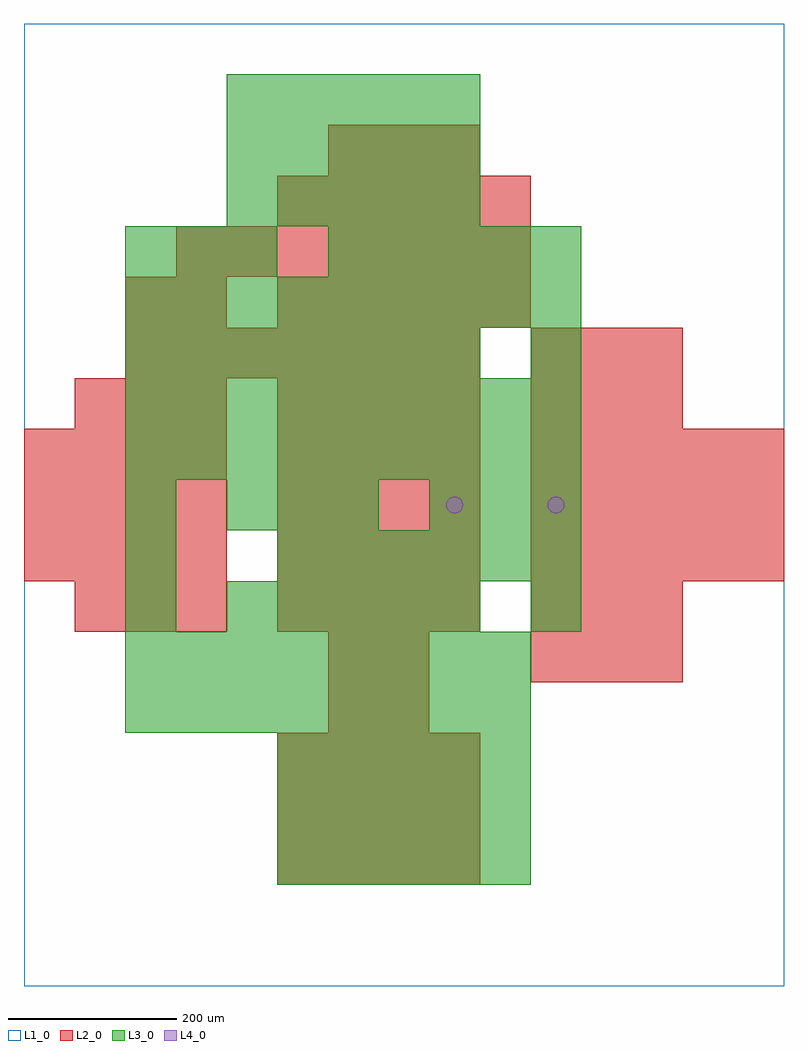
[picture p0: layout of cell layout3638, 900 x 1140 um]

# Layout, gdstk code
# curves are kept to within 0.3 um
import gdstk
lib = gdstk.Library(unit=1e-6, precision=1e-09)
def R(c, l, rs):  # rectangles x0, y0, x1, y1
    for r in rs: c.add(gdstk.rectangle(r[:2], r[2:], *l))
def A(c, l, x, y, w, h, nx, ny, dx, dy):  # array of equal rectangles
    R(c, l, [(x+i*dx, y+j*dy, x+i*dx+w, y+j*dy+h) for i in range(nx) for j in range(ny)])
def P(c, l, *ps):  # polygons
    for p in ps: c.add(gdstk.Polygon(p, *l))
L1_0 = (1, 0)
L2_0 = (2, 0)
L3_0 = (3, 0)
L4_0 = (4, 0)

layout3638 = lib.new_cell('layout3638')
R(layout3638, L1_0, [(0,0,900,1140)])
A(layout3638, L2_0, 300, 120, 60, 60, 4, 3, 60, 60)
A(layout3638, L2_0, 600, 360, 60, 60, 3, 2, 60, 60)
A(layout3638, L2_0, 60, 420, 60, 60, 3, 2, 60, 240)
A(layout3638, L2_0, 300, 420, 60, 60, 4, 5, 60, 60)
A(layout3638, L2_0, 0, 480, 60, 60, 4, 3, 60, 60)
A(layout3638, L2_0, 600, 480, 60, 60, 5, 3, 60, 60)
A(layout3638, L2_0, 600, 660, 60, 60, 3, 2, 60, 60)
A(layout3638, L2_0, 120, 720, 60, 60, 7, 1, 60, 0)
A(layout3638, L2_0, 300, 780, 60, 60, 5, 2, 60, 120)
A(layout3638, L2_0, 180, 840, 60, 60, 7, 1, 60, 0)
A(layout3638, L2_0, 360, 960, 60, 60, 3, 1, 60, 0)
R(layout3638, L2_0, [(360,300,420,360), (420,300,480,360), (360,360,420,420), (420,360,480,420), (120,780,180,840), (180,780,240,840)])
A(layout3638, L3_0, 300, 120, 60, 60, 5, 3, 60, 60)
A(layout3638, L3_0, 120, 300, 60, 60, 8, 2, 60, 60)
A(layout3638, L3_0, 120, 420, 60, 60, 1, 3, 0, 60)
A(layout3638, L3_0, 240, 420, 60, 60, 5, 2, 60, 480)
A(layout3638, L3_0, 300, 480, 60, 60, 6, 1, 60, 0)
A(layout3638, L3_0, 240, 540, 60, 60, 3, 1, 60, 0)
A(layout3638, L3_0, 480, 540, 60, 60, 3, 1, 60, 0)
A(layout3638, L3_0, 120, 600, 60, 60, 9, 2, 60, 60)
A(layout3638, L3_0, 120, 720, 60, 60, 7, 1, 60, 0)
A(layout3638, L3_0, 120, 780, 60, 60, 9, 1, 60, 0)
A(layout3638, L3_0, 120, 840, 60, 60, 3, 1, 60, 0)
A(layout3638, L3_0, 360, 840, 60, 60, 5, 1, 60, 0)
A(layout3638, L3_0, 240, 960, 60, 60, 5, 2, 60, 60)
R(layout3638, L3_0, [(600,420,660,480), (600,720,660,780)])
P(layout3638, L4_0, [(520,570),(519.239,573.827),(517.071,577.071),(513.827,579.239),(510,580),(506.173,579.239),(502.929,577.071),(500.761,573.827),(500,570),(500.761,566.173),(502.929,562.929),(506.173,560.761),(510,560),(513.827,560.761),(517.071,562.929),(519.239,566.173)],
  [(640,570),(639.239,573.827),(637.071,577.071),(633.827,579.239),(630,580),(626.173,579.239),(622.929,577.071),(620.761,573.827),(620,570),(620.761,566.173),(622.929,562.929),(626.173,560.761),(630,560),(633.827,560.761),(637.071,562.929),(639.239,566.173)])

lib.write_gds('layout3638.gds')
